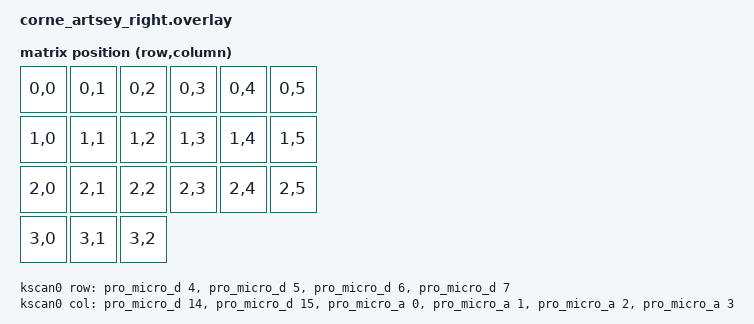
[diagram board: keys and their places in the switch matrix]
/*
 * Copyright (c) 2021 Mike "KemoNine" Crosson
 *
 * SPDX-License-Identifier: MIT
 */

#include <dt-bindings/zmk/matrix_transform.h>

/ {
	chosen {
		zmk,kscan = &kscan0;
		zmk,matrix_transform = &default_transform;
	};

	default_transform: keymap_transform_0 {
		compatible = "zmk,matrix-transform";
		columns = <6>;
		rows = <4>;
// | SW6  | SW5  | SW4  | SW3  | SW2  | SW1  |
// | SW12 | SW11 | SW10 | SW9  | SW8  | SW7  |
// | SW18 | SW17 | SW16 | SW15 | SW14 | SW13 |
// | SW21 | SW20 | SW19 |
		map = <
RC(0,0) RC(0,1) RC(0,2) RC(0,3) RC(0,4) RC(0,5)
RC(1,0) RC(1,1) RC(1,2) RC(1,3) RC(1,4) RC(1,5)
RC(2,0) RC(2,1) RC(2,2) RC(2,3) RC(2,4) RC(2,5)
RC(3,0) RC(3,1) RC(3,2)
		>;
	};

	kscan0: kscan {
		compatible = "zmk,kscan-gpio-matrix";
		label = "KSCAN";

		diode-direction = "col2row";
		row-gpios
			= <&pro_micro_d 4 (GPIO_ACTIVE_HIGH | GPIO_PULL_DOWN)>
			, <&pro_micro_d 5 (GPIO_ACTIVE_HIGH | GPIO_PULL_DOWN)>
			, <&pro_micro_d 6 (GPIO_ACTIVE_HIGH | GPIO_PULL_DOWN)>
			, <&pro_micro_d 7 (GPIO_ACTIVE_HIGH | GPIO_PULL_DOWN)>
			;
		
		col-gpios
			= <&pro_micro_d 14 GPIO_ACTIVE_HIGH>
			, <&pro_micro_d 15 GPIO_ACTIVE_HIGH>
			, <&pro_micro_a  0 GPIO_ACTIVE_HIGH>
			, <&pro_micro_a  1 GPIO_ACTIVE_HIGH>
			, <&pro_micro_a  2 GPIO_ACTIVE_HIGH>
			, <&pro_micro_a  3 GPIO_ACTIVE_HIGH>
			;
	};

	// TODO: per-key RGB node(s)?
};

&pro_micro_i2c {
	status = "okay";

	oled: ssd1306@3c {
		compatible = "solomon,ssd1306fb";
		reg = <0x3c>;
		label = "DISPLAY";
		width = <128>;
		height = <32>;
		segment-offset = <0>;
		page-offset = <0>;
		display-offset = <0>;
		multiplex-ratio = <31>;
		segment-remap;
		com-invdir;
		com-sequential;
		prechargep = <0x22>;
	};
};
